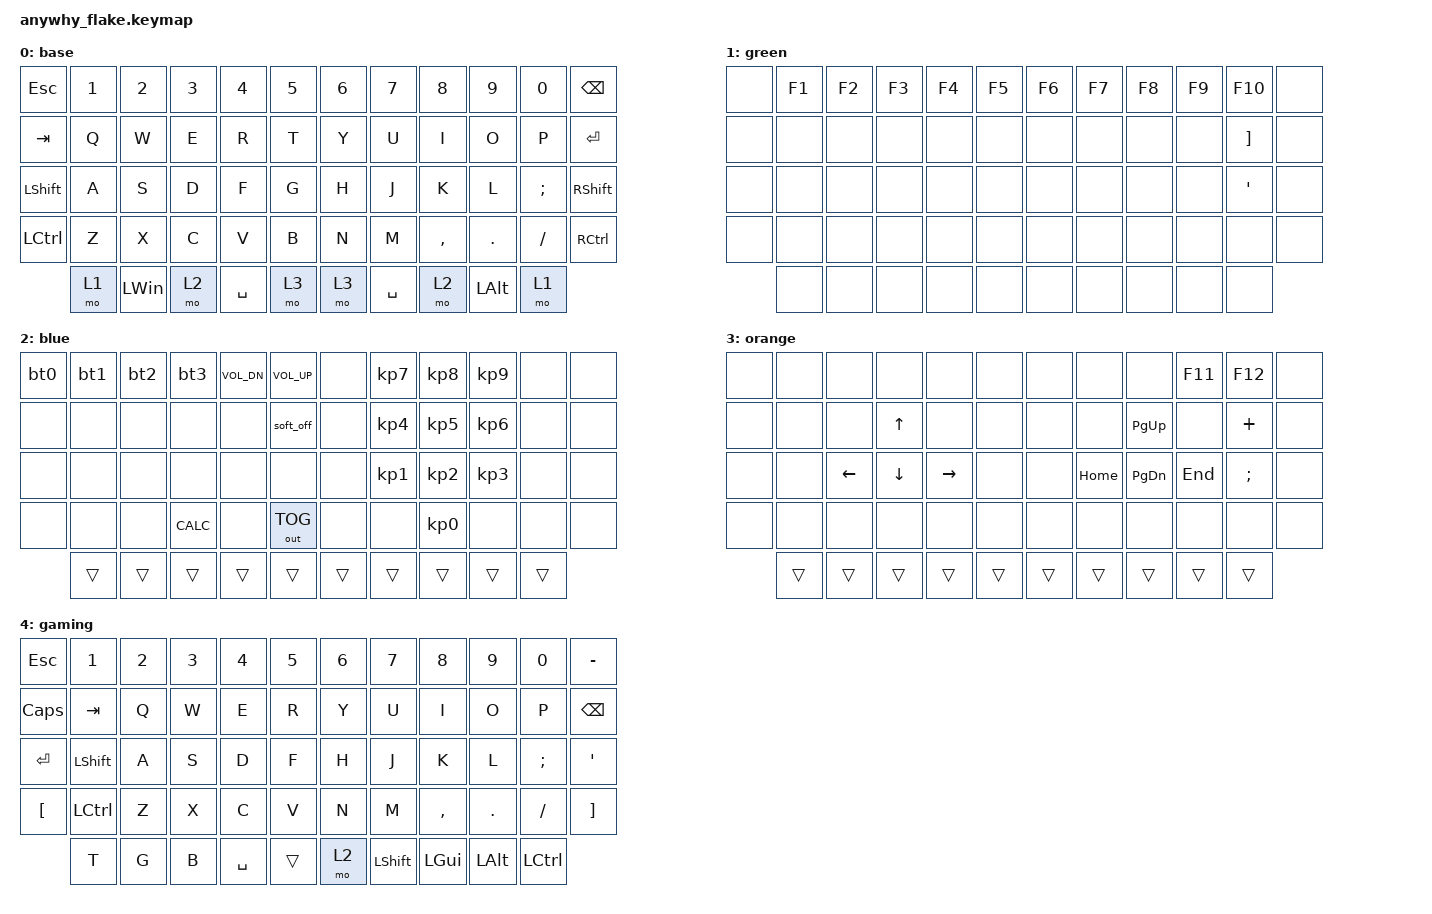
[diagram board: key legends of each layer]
#include <behaviors.dtsi>
#include <dt-bindings/zmk/bt.h>
#include <dt-bindings/zmk/keys.h>
#include <dt-bindings/zmk/outputs.h>

/ {
    combos {
        compatible = "zmk,combos";

        leave_gaming {
            bindings = <&sl 0>;
            key-positions = <31 20 33>;
        };

        combo_orange_unlock {
            bindings = <&studio_unlock>;
            key-positions = <52 53>;
        };

        enter_gaming {
            bindings = <&sl 4>;
            key-positions = <26 15 28>;
            layers = <0>;
        };
    };

    macros {
        bt_clr_0: bt_clr_0 {
            compatible = "zmk,behavior-macro";
            #binding-cells = <0>;
            bindings = <&bt BT_SEL 0 &bt BT_CLR>;
            label = "BT_CLR_0";
        };

        bt_clr_1: bt_clr_1 {
            compatible = "zmk,behavior-macro";
            #binding-cells = <0>;
            bindings = <&bt BT_SEL 1 &bt BT_CLR>;
            label = "BT_CLR_1";
        };

        bt_clr_2: bt_clr_2 {
            compatible = "zmk,behavior-macro";
            #binding-cells = <0>;
            bindings = <&bt BT_SEL 2 &bt BT_CLR>;
            label = "BT_CLR_2";
        };

        bt_clr_3: bt_clr_3 {
            compatible = "zmk,behavior-macro";
            #binding-cells = <0>;
            bindings = <&bt BT_SEL 3 &bt BT_CLR>;
            label = "BT_CLR_3";
        };

        bt_clr_4: bt_clr_4 {
            compatible = "zmk,behavior-macro";
            #binding-cells = <0>;
            bindings = <&bt BT_SEL 4 &bt BT_CLR>;
            label = "BT_CLR_4";
        };
    };

    behaviors {
        bt0: bt0 {
            compatible = "zmk,behavior-mod-morph";
            label = "BT0";
            bindings = <&bt BT_SEL 0>, <&bt_clr_0>;

            #binding-cells = <0>;
            mods = <(MOD_LSFT|MOD_RSFT)>;
        };

        bt1: bt1 {
            compatible = "zmk,behavior-mod-morph";
            label = "BT1";
            bindings = <&bt BT_SEL 1>, <&bt_clr_1>;

            #binding-cells = <0>;
            mods = <(MOD_LSFT|MOD_RSFT)>;
        };

        bt2: bt2 {
            compatible = "zmk,behavior-mod-morph";
            label = "BT2";
            bindings = <&bt BT_SEL 2>, <&bt_clr_2>;

            #binding-cells = <0>;
            mods = <(MOD_LSFT|MOD_RSFT)>;
        };

        bt3: bt3 {
            compatible = "zmk,behavior-mod-morph";
            label = "BT3";
            bindings = <&bt BT_SEL 3>, <&bt_clr_3>;

            #binding-cells = <0>;
            mods = <(MOD_LSFT|MOD_RSFT)>;
        };

        bt4: bt4 {
            compatible = "zmk,behavior-mod-morph";
            label = "BT4";
            bindings = <&bt BT_SEL 4>, <&bt_clr_4>;

            #binding-cells = <0>;
            mods = <(MOD_LSFT|MOD_RSFT)>;
        };
    };

    keymap {
        compatible = "zmk,keymap";

        base {
            bindings = <
&kp ESC         &kp N1  &kp N2        &kp N3  &kp N4     &kp N5    &kp N6  &kp N7     &kp N8     &kp N9    &kp N0    &kp BACKSPACE
&kp TAB         &kp Q   &kp W         &kp E   &kp R      &kp T     &kp Y   &kp U      &kp I      &kp O     &kp P     &kp ENTER
&kp LEFT_SHIFT  &kp A   &kp S         &kp D   &kp F      &kp G     &kp H   &kp J      &kp K      &kp L     &kp SEMI  &kp RIGHT_SHIFT
&kp LCTRL       &kp Z   &kp X         &kp C   &kp V      &kp B     &kp N   &kp M      &kp COMMA  &kp DOT   &kp FSLH  &kp RCTRL
                &mo 1   &kp LEFT_WIN  &mo 2   &kp SPACE  &mo 3     &mo 3   &kp SPACE  &mo 2      &kp LALT  &mo 1
            >;
        };

        green {
            bindings = <
&none  &kp F1  &kp F2  &kp F3  &kp F4  &kp F5    &kp F6  &kp F7  &kp F8  &kp F9  &kp F10   &none
&none  &none   &none   &none   &none   &none     &none   &none   &none   &none   &kp RBKT  &none
&none  &none   &none   &none   &none   &none     &none   &none   &none   &none   &kp APOS  &none
&none  &none   &none   &none   &none   &none     &none   &none   &none   &none   &none     &none
       &none   &none   &none   &none   &none     &none   &none   &none   &none   &none
            >;
        };

        blue {
            bindings = <
&bt0   &bt1    &bt2    &bt3        &kp C_VOL_DN  &kp C_VOL_UP    &none   &kp KP_NUMBER_7  &kp KP_NUMBER_8  &kp KP_NUMBER_9  &none   &none
&none  &none   &none   &none       &none         &soft_off       &none   &kp KP_NUMBER_4  &kp KP_NUMBER_5  &kp KP_NUMBER_6  &none   &none
&none  &none   &none   &none       &none         &none           &none   &kp KP_NUMBER_1  &kp KP_NUMBER_2  &kp KP_NUMBER_3  &none   &none
&none  &none   &none   &kp K_CALC  &none         &out OUT_TOG    &none   &none            &kp KP_NUMBER_0  &none            &none   &none
       &trans  &trans  &trans      &trans        &trans          &trans  &trans           &trans           &trans           &trans
            >;
        };

        orange {
            bindings = <
&none  &none   &none           &none           &none      &none     &none   &none     &none      &kp F11  &kp F12   &none
&none  &none   &none           &kp UP_ARROW    &none      &none     &none   &none     &kp PG_UP  &none    &kp PLUS  &none
&none  &none   &kp LEFT_ARROW  &kp DOWN_ARROW  &kp RIGHT  &none     &none   &kp HOME  &kp PG_DN  &kp END  &kp SEMI  &none
&none  &none   &none           &none           &none      &none     &none   &none     &none      &none    &none     &none
       &trans  &trans          &trans          &trans     &trans    &trans  &trans    &trans     &trans   &trans
            >;
        };

        gaming {
            bindings = <
&kp ESC    &kp N1     &kp N2  &kp N3  &kp N4     &kp N5    &kp N6  &kp N7     &kp N8     &kp N9    &kp N0     &kp MINUS
&kp CAPS   &kp TAB    &kp Q   &kp W   &kp E      &kp R     &kp Y   &kp U      &kp I      &kp O     &kp P      &kp BSPC
&kp ENTER  &kp LSHFT  &kp A   &kp S   &kp D      &kp F     &kp H   &kp J      &kp K      &kp L     &kp SEMI   &kp APOS
&kp LBKT   &kp LCTRL  &kp Z   &kp X   &kp C      &kp V     &kp N   &kp M      &kp COMMA  &kp DOT   &kp FSLH   &kp RBKT
           &kp T      &kp G   &kp B   &kp SPACE  &trans    &mo 2   &kp LSHFT  &kp LGUI   &kp LALT  &kp LCTRL
            >;
        };
    };
};
